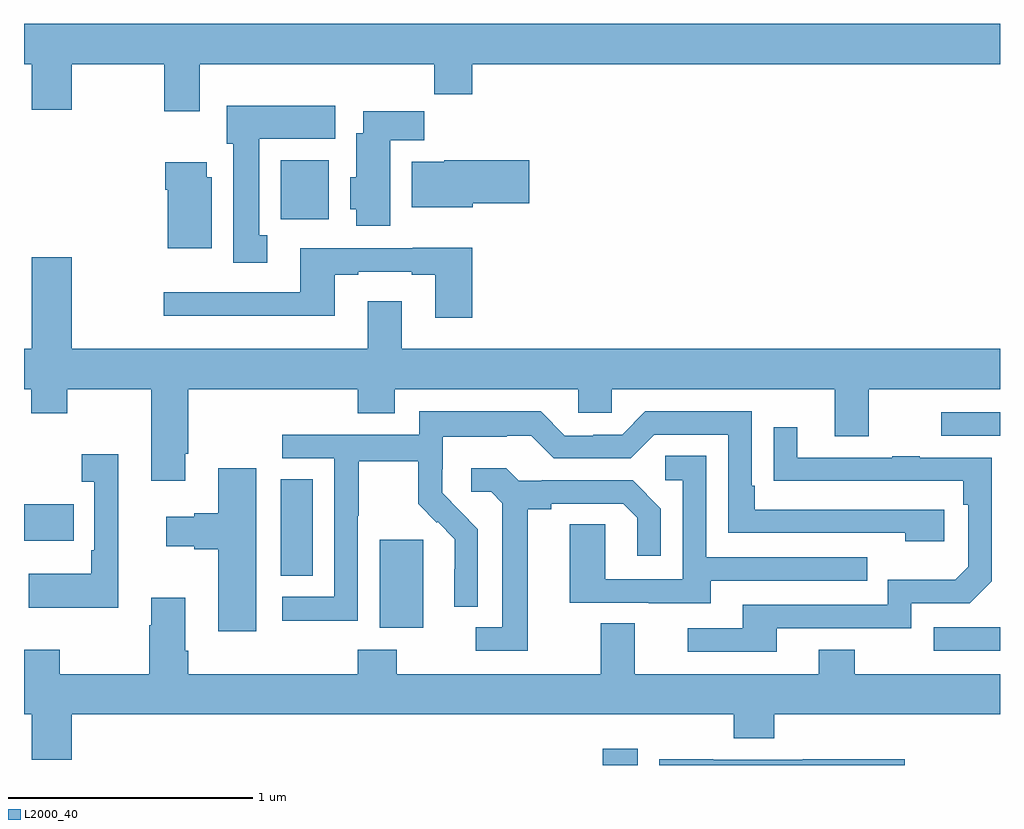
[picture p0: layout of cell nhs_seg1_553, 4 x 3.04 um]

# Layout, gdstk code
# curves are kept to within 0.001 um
import gdstk
lib = gdstk.Library(unit=1e-6, precision=1e-09)
def R(c, l, rs):  # rectangles x0, y0, x1, y1
    for r in rs: c.add(gdstk.rectangle(r[:2], r[2:], *l))
def P(c, l, *ps):  # polygons
    for p in ps: c.add(gdstk.Polygon(p, *l))
L2000_40 = (2000, 40)

nhs_seg1_553 = lib.new_cell('nhs_seg1_553')
R(nhs_seg1_553, L2000_40, [(143.372,542.199,143.515,542.266), (144.729,542.667,145,542.763), (142.457,542.762,142.636,543.123), (142.052,542.974,142.183,543.371), (141,543.119,141.203,543.267), (144.759,543.549,145,543.645), (142.052,544.436,142.249,544.678)])
P(nhs_seg1_553, L2000_40, [(141.721,545.072),(142.681,545.072),(142.681,544.948),(142.838,544.948),(142.838,545.072),(145,545.072),(145,545.236),(141,545.236),(141,545.072),(141.032,545.072),(141.032,544.884),(141.196,544.884),(141.196,545.072),(141.574,545.072),(141.574,544.878),(141.721,544.878)],
  [(141.997,544.37),(141.964,544.37),(141.964,544.766),(142.276,544.766),(142.276,544.9),(141.83,544.9),(141.83,544.746),(141.857,544.746),(141.857,544.257),(141.997,544.257)],
  [(142.501,544.76),(142.64,544.76),(142.64,544.879),(142.391,544.879),(142.391,544.789),(142.361,544.789),(142.361,544.608),(142.337,544.608),(142.337,544.476),(142.361,544.476),(142.361,544.409),(142.501,544.409)],
  [(142.84,544.502),(143.071,544.502),(143.071,544.678),(142.722,544.678),(142.722,544.672),(142.589,544.672),(142.589,544.484),(142.84,544.484)],
  [(141.769,544.608),(141.748,544.608),(141.748,544.669),(141.578,544.669),(141.578,544.556),(141.59,544.556),(141.59,544.316),(141.769,544.316)],
  [(142.838,544.318),(142.593,544.318),(142.593,544.317),(142.133,544.317),(142.133,544.137),(141.573,544.137),(141.573,544.04),(142.273,544.04),(142.273,544.209),(142.369,544.209),(142.369,544.221),(142.589,544.221),(142.589,544.209),(142.685,544.209),(142.685,544.032),(142.838,544.032)],
  [(141.661,543.475),(141.674,543.475),(141.674,543.74),(142.367,543.74),(142.367,543.641),(142.519,543.641),(142.519,543.74),(143.271,543.74),(143.271,543.642),(143.409,543.642),(143.409,543.74),(144.323,543.74),(144.323,543.546),(144.463,543.546),(144.463,543.74),(145,543.74),(145,543.904),(142.549,543.904),(142.549,544.099),(142.409,544.099),(142.409,543.904),(141.196,543.904),(141.196,544.279),(141.032,544.279),(141.032,543.904),(141,543.904),(141,543.74),(141.029,543.74),(141.029,543.641),(141.177,543.641),(141.177,543.74),(141.521,543.74),(141.521,543.363),(141.661,543.363)],
  [(142.368,543.22),(142.371,543.22),(142.371,543.444),(142.615,543.444),(142.615,543.269),(142.692,543.192),(142.695,543.195),(142.766,543.125),(142.766,543.002),(142.764,543.002),(142.764,542.848),(142.86,542.848),(142.86,543.166),(142.714,543.314),(142.714,543.411),(142.716,543.411),(142.716,543.545),(142.979,543.545),(142.979,543.549),(143.079,543.549),(143.172,543.456),(143.487,543.456),(143.583,543.552),(143.886,543.552),(143.886,543.15),(144.611,543.15),(144.611,543.116),(144.772,543.116),(144.772,543.246),(143.995,543.246),(143.995,543.343),(143.982,543.343),(143.982,543.648),(143.547,543.648),(143.451,543.552),(143.333,543.552),(143.333,543.549),(143.217,543.549),(143.117,543.649),(142.62,543.649),(142.62,543.552),(142.059,543.552),(142.059,543.456),(142.272,543.456),(142.272,542.889),(142.059,542.889),(142.059,542.791),(142.368,542.791)],
  [(144.085,542.76),(144.636,542.76),(144.636,542.862),(144.876,542.862),(144.966,542.952),(144.966,543.459),(144.671,543.459),(144.671,543.464),(144.559,543.464),(144.559,543.459),(144.169,543.459),(144.169,543.583),(144.073,543.583),(144.073,543.364),(144.85,543.363),(144.85,543.266),(144.87,543.266),(144.87,543.012),(144.817,542.959),(144.54,542.959),(144.54,542.856),(143.945,542.856),(143.945,542.76),(143.721,542.76),(143.721,542.664),(144.085,542.664)],
  [(141.386,543.472),(141.237,543.472),(141.237,543.359),(141.288,543.359),(141.288,543.079),(141.276,543.079),(141.276,542.983),(141.019,542.983),(141.019,542.843),(141.386,542.843)],
  [(143.815,542.955),(144.455,542.955),(144.455,543.051),(143.796,543.051),(143.796,543.467),(143.628,543.467),(143.628,543.366),(143.7,543.366),(143.7,542.961),(143.382,542.961),(143.382,543.185),(143.237,543.185),(143.237,542.865),(143.561,542.865),(143.561,542.861),(143.815,542.861)],
  [(143.065,543.248),(143.161,543.248),(143.161,543.27),(143.456,543.27),(143.513,543.213),(143.513,543.057),(143.61,543.057),(143.61,543.25),(143.494,543.366),(143.122,543.366),(143.122,543.363),(143.028,543.363),(142.976,543.415),(142.833,543.415),(142.833,543.318),(142.914,543.318),(142.961,543.271),(142.961,542.763),(142.851,542.763),(142.851,542.667),(143.065,542.667)],
  [(141.952,543.415),(141.797,543.415),(141.797,543.23),(141.698,543.23),(141.698,543.217),(141.582,543.217),(141.582,543.095),(141.698,543.095),(141.698,543.083),(141.797,543.083),(141.797,542.748),(141.952,542.748)],
  [(141.196,542.408),(143.909,542.408),(143.909,542.309),(144.074,542.309),(144.074,542.408),(145,542.408),(145,542.572),(144.405,542.572),(144.405,542.671),(144.257,542.671),(144.257,542.572),(143.503,542.572),(143.503,542.78),(143.363,542.78),(143.363,542.572),(142.527,542.572),(142.527,542.671),(142.367,542.671),(142.367,542.572),(141.674,542.572),(141.674,542.668),(141.661,542.668),(141.661,542.884),(141.521,542.884),(141.521,542.771),(141.514,542.771),(141.514,542.572),(141.147,542.572),(141.147,542.671),(141,542.671),(141,542.408),(141.032,542.408),(141.032,542.22),(141.196,542.22)],
  [(144.61,542.222),(144.191,542.222),(144.191,542.22),(143.825,542.22),(143.825,542.222),(143.604,542.222),(143.604,542.199),(144.61,542.199)])

lib.write_gds('nhs_seg1_553.gds')
